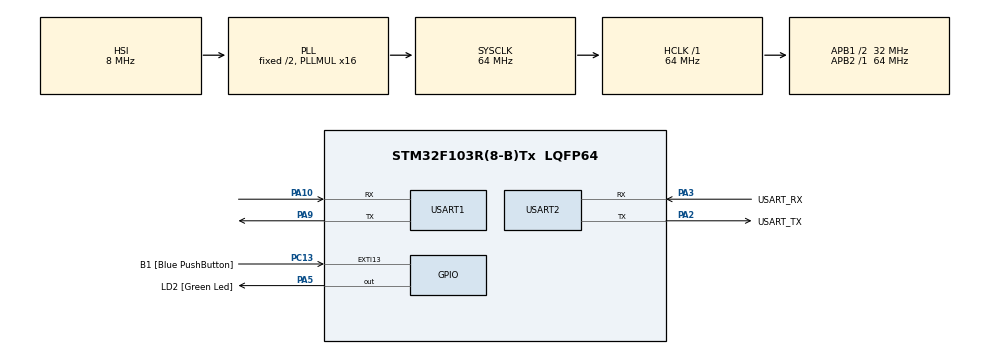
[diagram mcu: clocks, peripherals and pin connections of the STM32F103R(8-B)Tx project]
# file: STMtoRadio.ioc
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Mcu.Family=STM32F1
Mcu.Name=STM32F103R(8-B)Tx
Mcu.Package=LQFP64
NVIC.EXTI15_10_IRQn=true\:0\:0\:false\:false\:true\:true\:true\:true
NVIC.PriorityGroup=NVIC_PRIORITYGROUP_4
PA10.Mode=Asynchronous
PA10.Signal=USART1_RX
PA13.GPIO_Label=TMS
PA13.Mode=Serial_Wire
PA13.Signal=SYS_JTMS-SWDIO
PA14.GPIO_Label=TCK
PA14.Mode=Serial_Wire
PA14.Signal=SYS_JTCK-SWCLK
PA2.GPIO_Label=USART_TX
PA2.GPIO_Mode=GPIO_MODE_AF_PP
PA2.GPIO_PuPd=GPIO_NOPULL
PA2.GPIO_Speed=GPIO_SPEED_FREQ_LOW
PA2.Mode=Asynchronous
PA2.Signal=USART2_TX
PA3.GPIO_Label=USART_RX
PA3.GPIO_Mode=GPIO_MODE_AF_PP
PA3.GPIO_PuPd=GPIO_NOPULL
PA3.GPIO_Speed=GPIO_SPEED_FREQ_LOW
PA3.Mode=Asynchronous
PA3.Signal=USART2_RX
PA5.GPIO_Label=LD2 [Green Led]
PA5.GPIO_ModeDefaultOutputPP=GPIO_MODE_OUTPUT_PP
PA5.GPIO_PuPd=GPIO_NOPULL
PA5.GPIO_Speed=GPIO_SPEED_FREQ_LOW
PA5.Signal=GPIO_Output
PA9.Mode=Asynchronous
PA9.Signal=USART1_TX
PB3.GPIO_Label=SWO
PB3.Signal=SYS_JTDO-TRACESWO
PC13-TAMPER-RTC.GPIO_Label=B1 [Blue PushButton]
PC13-TAMPER-RTC.GPIO_PuPd=GPIO_NOPULL
PC13-TAMPER-RTC.Signal=GPXTI13
PC14-OSC32_IN.Mode=LSE-External-Oscillator
PC14-OSC32_IN.Signal=RCC_OSC32_IN
PC15-OSC32_OUT.Mode=LSE-External-Oscillator
PC15-OSC32_OUT.Signal=RCC_OSC32_OUT
PD0-OSC_IN.Mode=HSE-External-Clock-Source
PD0-OSC_IN.Signal=RCC_OSC_IN
PD1-OSC_OUT.Mode=HSE-External-Clock-Source
PD1-OSC_OUT.Signal=RCC_OSC_OUT
ProjectManager.HeapSize=0x200
ProjectManager.StackSize=0x400
ProjectManager.TargetToolchain=STM32CubeIDE
RCC.AHBFreq_Value=64000000
RCC.APB1CLKDivider=RCC_HCLK_DIV2
RCC.APB1Freq_Value=32000000
RCC.APB1TimFreq_Value=64000000
RCC.APB2Freq_Value=64000000
RCC.APB2TimFreq_Value=64000000
RCC.HCLKFreq_Value=64000000
RCC.PLLMUL=RCC_PLL_MUL16
RCC.RTCClockSelection=RCC_RTCCLKSOURCE_LSE
RCC.SYSCLKFreq_VALUE=64000000
RCC.SYSCLKSource=RCC_SYSCLKSOURCE_PLLCLK
RCC.USBFreq_Value=64000000
USART1.VirtualMode=VM_ASYNC
USART2.VirtualMode=VM_ASYNC
board=NUCLEO-F103RB

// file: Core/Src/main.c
/* USER CODE BEGIN Header */
/**
 ******************************************************************************
 * @file           : main.c
 * @brief          : Main program body
 ******************************************************************************
 * @attention
 *
 * Copyright (c) 2023 STMicroelectronics.
 * All rights reserved.
 *
 * This software is licensed under terms that can be found in the LICENSE file
 * in the root directory of this software component.
 * If no LICENSE file comes with this software, it is provided AS-IS.
 *
 ******************************************************************************
 */
/* USER CODE END Header */
#include "main.h"

UART_HandleTypeDef huart1;
UART_HandleTypeDef huart2;

void SystemClock_Config(void);
static void MX_GPIO_Init(void);
static void MX_USART2_UART_Init(void);
static void MX_USART1_UART_Init(void);

/* USER CODE BEGIN 0 */

void print_ASCII(uint8_t data) {
	HAL_UART_Transmit(&huart2, &data, 1, 100);
}

void newline() {
	uint8_t buf[12];
	strcpy((char*) buf, "\r\n	");
	HAL_UART_Transmit(&huart2, buf, strlen((char*) buf), 100);
	memset(buf, 0, sizeof(buf));
}

void newlineFinal() {
	newline();
	uint8_t buf[12];
	strcpy((char*) buf, "\r\n");
	HAL_UART_Transmit(&huart2, buf, strlen((char*) buf), 100);
	memset(buf, 0, sizeof(buf));
}

void print_string(const char *a) {
	uint8_t buf[100];
	strncpy((char*) buf, a, sizeof(buf));
	buf[sizeof(buf) - 1] = '\0';
	HAL_UART_Transmit(&huart2, (uint8_t*) buf, strlen((char*) buf), 100);
	memset(buf, 0, sizeof(buf));
}

void space() {
	uint8_t buf[12];
	strcpy((char*) buf, "	");
	HAL_UART_Transmit(&huart2, buf, strlen((char*) buf), 100);
	memset(buf, 0, sizeof(buf));
}

void print_hex(char h) {
	int i;
	char nibble;
	for (i = 1; i >= 0; i--) {
		nibble = ((h >> (4 * i)) & 0x0F);
		if (nibble < 10) { //decimal number
			nibble += 48;
			HAL_UART_Transmit(&huart2, (uint8_t*) &nibble, sizeof(nibble), 10);
		} else { //letter
			nibble += 55;
			HAL_UART_Transmit(&huart2, (uint8_t*) &nibble, sizeof(nibble), 10);
		}
	}
	//space();
	//memset(nibble, 0, sizeof(nibble));
}

void print_decimal(const long long data, const unsigned char len) {
	int i;
	char nibble;
	for (i = (len - 1); i >= 0; i--) {
		nibble = ((int) (data / pow(10, i)) % 10) + 48;
		HAL_UART_Transmit(&huart2, (uint8_t*) &nibble, sizeof(nibble), 10);
	}
}

uint8_t count = 0;
void count_init() {
	count++;
	print_decimal(count, 3);
	space();
}

void send_buffer(uint8_t *buffer, uint32_t buffer_length) {
	for (int i = 0; i < buffer_length; i++) {
		//HAL_UART_Transmit(&huart2, &buffer[i], 1, HAL_MAX_DELAY);
		print_hex(buffer[i]);
	}
	newline();
//	memset(buffer, 0, buffer_length);
}

void GetRadioInfo() {
	uint8_t data = 0x61;
	HAL_UART_Transmit(&huart1, &data, 1, 100);
	uint8_t Rx_data[19];
	memset(Rx_data, 0, sizeof(Rx_data));
	HAL_UART_Receive(&huart1, Rx_data, 19, 1000);

	//send_buffer(Rx_data, 19);

	print_string("[");

	print_ASCII(Rx_data[0]);
	print_ASCII(Rx_data[1]);
	space();

	print_ASCII(Rx_data[2]);
	space();

	for (int i = 3; i < 13; i++) {
		print_ASCII(Rx_data[i]);
	}
	space();
	for (int i = 13; i < 20; i++) {
		print_ASCII(Rx_data[i]);
	}
	print_string("]");
	space();
}

void WriteTXBufferString(const char *a) {
	uint8_t data = 0x67;
	HAL_UART_Transmit(&huart1, &data, 1, 100);
	uint8_t length = strlen(a);
//	print_string("Packet length: ");
//	print_hex(length);
//	newline();
	HAL_UART_Transmit(&huart1, &length, 1, 100);
	HAL_UART_Transmit(&huart1, (uint8_t*) a, length, 100);
}

void WriteTXBuffer(uint8_t *a, uint8_t length) {
	uint8_t data = 0x67;
	HAL_UART_Transmit(&huart1, &data, 1, 100);
	HAL_UART_Transmit(&huart1, &length, 1, 100);
	HAL_UART_Transmit(&huart1, (uint8_t*) a, length, 100);
}

void WriteRXBuffer(const char *a) {
	uint8_t data = 0x70;
	HAL_UART_Transmit(&huart1, &data, 1, 100);
	uint8_t length = strlen(a);
//	print_string("Packet length: ");
//	print_hex(length);
//	newline();
	HAL_UART_Transmit(&huart1, &length, 1, 100);
	HAL_UART_Transmit(&huart1, (uint8_t*) a, length, 100);
}

//void BurstWrite(const char *a) {
//	uint8_t data = 0x68;
//	HAL_UART_Transmit(&huart1, &data, 1, 100);
//	uint8_t length = strlen(a);
//	HAL_UART_Transmit(&huart1, &length, 1, 100);
//	HAL_UART_Transmit(&huart1, (uint8_t*) a, length, 100);
//}

char GetTXBufferState() {
	uint8_t data = 0x66;
	HAL_UART_Transmit(&huart1, &data, 1, 100);
	uint8_t Rx_data[5];
	memset(Rx_data, 0, sizeof(Rx_data));
	HAL_UART_Receive(&huart1, Rx_data, 5, 1000);
	print_string("[");

	print_hex(Rx_data[0]);
	space();

	print_hex(Rx_data[1]);
	space();

	print_hex(Rx_data[2]);
	print_hex(Rx_data[3]);
	space();

	print_hex(Rx_data[4]);
	print_string("]");
	newline();

	uint8_t TX_ACTIVE_status = 0;
	print_string("[Status: ");
	uint8_t radioStatus = Rx_data[0] & 0xC0;
	if (radioStatus == 0x00) {
		print_string("IDLE");
	} else if (radioStatus == 0x40) {
		print_string("RX");
	} else if (radioStatus == 0x80) {
		print_string("TX WAIT");
	} else if (radioStatus == 0xC0) {
		print_string("TX ACTIVE");
		TX_ACTIVE_status = 1;
	}
	space();

	print_string("	Packet: ");
	uint8_t bufferPacketOverflow = Rx_data[0] & 0x02;
	if (bufferPacketOverflow == 0x02) {
		print_string("Packet limit being reached.");
	} else if (bufferPacketOverflow == 0x00) {
		print_string("No overflow last write.");
	}
	space();

	print_string("	Data: ");
	uint8_t bufferDataOverflow = Rx_data[0] & 0x01;
	if (bufferDataOverflow == 0x01) {
		print_string("Data buffer overflow.]");
	} else if (bufferDataOverflow == 0x00) {
		print_string("No overflow last write.]");
	}
	newline();

	print_string("[Packets: ");
	print_decimal(Rx_data[1], 2);
	print_string("	Bytes: ");
	uint16_t TXSize = ((uint16_t) Rx_data[2] << 8) + Rx_data[3];
	print_decimal(TXSize, 5);
	print_string("	Packet size: ");
	print_decimal(Rx_data[4], 3);
	print_string("]");
	newline();

//	print_hex(radioStatus); space();
//	print_hex(bufferPacketOverflow); space();
//	print_hex(bufferDataOverflow);
	return TX_ACTIVE_status;
}

char GetRXBufferState() {
	uint8_t data = 0x62;
	HAL_UART_Transmit(&huart1, &data, 1, 100);
	uint8_t Rx_data[5];
	memset(Rx_data, 0, sizeof(Rx_data));
	HAL_UART_Receive(&huart1, Rx_data, 5, 1000);
	print_string("[");

	print_hex(Rx_data[0]);
	space();

	print_hex(Rx_data[1]);
	space();

	print_hex(Rx_data[2]);
	print_hex(Rx_data[3]);
	space();

	print_hex(Rx_data[4]);
	print_string("]");
	newline();

	print_string("[Status: ");
	uint8_t radioStatus = Rx_data[0] & 0xC0;
	if (radioStatus == 0x00) {
		print_string("IDLE");
	} else if (radioStatus == 0x40) {
		print_string("RX");
	} else if (radioStatus == 0x80) {
		print_string("TX WAIT");
	} else if (radioStatus == 0xC0) {
		print_string("TX ACTIVE");
	}
	space();

	print_string("	Packet: ");
	uint8_t bufferPacketOverflow = Rx_data[0] & 0x02;
	if (bufferPacketOverflow == 0x02) {
		print_string("Packet limit being reached.");
	} else if (bufferPacketOverflow == 0x00) {
		print_string("No overflow last write.");
	}
	space();

	print_string("	Data: ");
	uint8_t bufferDataOverflow = Rx_data[0] & 0x01;
	if (bufferDataOverflow == 0x01) {
		print_string("Data buffer overflow.]");
	} else if (bufferDataOverflow == 0x00) {
		print_string("No overflow last write.]");
	}
	newline();

	print_string("[Packets: ");
	print_decimal(Rx_data[1], 2);
	print_string("	Bytes: ");
	uint16_t RXSize = ((uint16_t) Rx_data[2] << 8) + Rx_data[3];
	print_decimal(RXSize, 5);
	print_string("	Packet size: ");
	print_decimal(Rx_data[4], 3);
	print_string("]");
	newline();

//	print_hex(radioStatus); space();
//	print_hex(bufferPacketOverflow); space();
//	print_hex(bufferDataOverflow);
	return Rx_data[1];
}

char GetRXBufferLength(){
	uint8_t data = 0x62;
	HAL_UART_Transmit(&huart1, &data, 1, 100);
	uint8_t Rx_data[5];
	memset(Rx_data, 0, sizeof(Rx_data));
	HAL_UART_Receive(&huart1, Rx_data, 5, 1000);
	return Rx_data[4];
}

void FlushTXBuffer() {
	uint8_t data = 0x69;
	HAL_UART_Transmit(&huart1, &data, 1, 100);
	uint8_t Rx_data[1024];
	memset(Rx_data, 0, sizeof(Rx_data));
	HAL_UART_Receive(&huart1, Rx_data, 1024, 1000);

	newline();
	print_string("TX buffer contents: ");
	newline();
	send_buffer(Rx_data, 1024);
}

void FlushRXBuffer() {
	uint8_t data = 0x65;
	HAL_UART_Transmit(&huart1, &data, 1, 100);
	uint8_t Rx_data[1024];
	memset(Rx_data, 0, sizeof(Rx_data));
	HAL_UART_Receive(&huart1, Rx_data, 1024, 1000);

	newline();
	print_string("RX buffer contents: ");
	newline();
	send_buffer(Rx_data, 1024);
}

void ReadTXBuffer() {
	uint8_t data = 0x71;
	HAL_UART_Transmit(&huart1, &data, 1, 100);

	const uint32_t MAX_RX_SIZE = 100;
	uint8_t Rx_data[MAX_RX_SIZE + 1]; // buffer to hold received data plus null terminator
	memset(Rx_data, 0, sizeof(Rx_data));
	HAL_UART_Receive(&huart1, Rx_data, MAX_RX_SIZE, 1000);
	Rx_data[MAX_RX_SIZE] = '\0'; // add null terminator to received data

	// Determine actual size of received data
	uint32_t size = 0;
	while (size < MAX_RX_SIZE && Rx_data[size] != '\0') {
		size++;
	}

//	print_string("TX buffer size: ");
//	print_decimal(size, 3);
//	newline();

	print_string("TX First Packet: ");
	newline();
	send_buffer(Rx_data, size);
}

char ReadRXBuffer(uint8_t *buffer) {
	uint8_t data = 0x63;
	HAL_UART_Transmit(&huart1, &data, 1, 100);

	const uint32_t MAX_RX_SIZE = 100;
	uint8_t Rx_data[MAX_RX_SIZE + 1]; // buffer to hold received data plus null terminator
	memset(Rx_data, 0, sizeof(Rx_data));
	HAL_UART_Receive(&huart1, Rx_data, MAX_RX_SIZE, 1000);
//	Rx_data[MAX_RX_SIZE] = '\0'; // add null terminator to received data
//
//	// Determine actual size of received data
//	uint32_t size = 0;
//	while (size < MAX_RX_SIZE && Rx_data[size] != '\0') {
//		size++;
//	}

//	print_string("TX buffer size: ");
//	print_decimal(size, 3);
//	newline();

	print_string("RX First Packet: ");
	newline();
	send_buffer(Rx_data, GetRXBufferLength());
	buffer = Rx_data;
	return GetRXBufferLength();
}

void IDLEMode() {
	uint8_t data = 0x82;
	HAL_UART_Transmit(&huart1, &data, 1, 100);
	uint8_t Rx_data[1];
	memset(Rx_data, 0, sizeof(Rx_data));
	HAL_UART_Receive(&huart1, Rx_data, 1024, 1000);
	while (Rx_data[0] != 0x00) {
		HAL_UART_Transmit(&huart1, &data, 1, 100);
		memset(Rx_data, 0, sizeof(Rx_data));
		HAL_UART_Receive(&huart1, Rx_data, 1024, 1000);
		print_string("IDLE, chip state:	");
		print_hex(Rx_data[0]);
		newline();
	}
	print_string("IDLE mode activated");
		newline();
}

void RXMode() {
	uint8_t data = 0x83;
	HAL_UART_Transmit(&huart1, &data, 1, 100);
	uint8_t Rx_data[1];
	memset(Rx_data, 0, sizeof(Rx_data));
	HAL_UART_Receive(&huart1, Rx_data, 1024, 1000);
	while (Rx_data[0] != 0x40) {
		HAL_UART_Transmit(&huart1, &data, 1, 100);
		memset(Rx_data, 0, sizeof(Rx_data));
		HAL_UART_Receive(&huart1, Rx_data, 1024, 1000);
		print_string("RX, chip state:	");
		print_hex(Rx_data[0]);
		newline();
	}
	print_string("RX mode activated");
		newline();
}

void TXMode() {
	uint8_t data = 0x84;
	HAL_UART_Transmit(&huart1, &data, 1, 100);
	uint8_t Rx_data[1];
	memset(Rx_data, 0, sizeof(Rx_data));
	HAL_UART_Receive(&huart1, Rx_data, 1024, 1000);
	while (Rx_data[0] != 0x80) {
		HAL_UART_Transmit(&huart1, &data, 1, 100);
		memset(Rx_data, 0, sizeof(Rx_data));
		HAL_UART_Receive(&huart1, Rx_data, 1024, 1000);
		print_string("TX, chip state:	");
		print_hex(Rx_data[0]);
		newline();
	}
	print_string("TX mode activated");
	newline();
}

/* USER CODE END 0 */

int main(void)
{

  /* MCU Configuration--------------------------------------------------------*/

  /* Reset of all peripherals, Initializes the Flash interface and the Systick. */
  HAL_Init();

  /* Configure the system clock */
  SystemClock_Config();

  /* Initialize all configured peripherals */
  MX_GPIO_Init();
  MX_USART2_UART_Init();
  MX_USART1_UART_Init();

  /* Infinite loop */
	while (1) {

	}
}

void SystemClock_Config(void)
{
  RCC_OscInitTypeDef RCC_OscInitStruct = {0};
  RCC_ClkInitTypeDef RCC_ClkInitStruct = {0};

  /** Initializes the RCC Oscillators according to the specified parameters
  * in the RCC_OscInitTypeDef structure.
  */
  RCC_OscInitStruct.OscillatorType = RCC_OSCILLATORTYPE_HSI;
  RCC_OscInitStruct.HSIState = RCC_HSI_ON;
  RCC_OscInitStruct.HSICalibrationValue = RCC_HSICALIBRATION_DEFAULT;
  RCC_OscInitStruct.PLL.PLLState = RCC_PLL_ON;
  RCC_OscInitStruct.PLL.PLLSource = RCC_PLLSOURCE_HSI_DIV2;
  RCC_OscInitStruct.PLL.PLLMUL = RCC_PLL_MUL16;
  if (HAL_RCC_OscConfig(&RCC_OscInitStruct) != HAL_OK)
  {
    Error_Handler();
  }

  /** Initializes the CPU, AHB and APB buses clocks
  */
  RCC_ClkInitStruct.ClockType = RCC_CLOCKTYPE_HCLK|RCC_CLOCKTYPE_SYSCLK
                              |RCC_CLOCKTYPE_PCLK1|RCC_CLOCKTYPE_PCLK2;
  RCC_ClkInitStruct.SYSCLKSource = RCC_SYSCLKSOURCE_PLLCLK;
  RCC_ClkInitStruct.AHBCLKDivider = RCC_SYSCLK_DIV1;
  RCC_ClkInitStruct.APB1CLKDivider = RCC_HCLK_DIV2;
  RCC_ClkInitStruct.APB2CLKDivider = RCC_HCLK_DIV1;

  if (HAL_RCC_ClockConfig(&RCC_ClkInitStruct, FLASH_LATENCY_2) != HAL_OK)
  {
    Error_Handler();
  }
}

static void MX_USART1_UART_Init(void)
{

  huart1.Instance = USART1;
  huart1.Init.BaudRate = 115200;
  huart1.Init.WordLength = UART_WORDLENGTH_8B;
  huart1.Init.StopBits = UART_STOPBITS_1;
  huart1.Init.Parity = UART_PARITY_NONE;
  huart1.Init.Mode = UART_MODE_TX_RX;
  huart1.Init.HwFlowCtl = UART_HWCONTROL_NONE;
  huart1.Init.OverSampling = UART_OVERSAMPLING_16;
  if (HAL_UART_Init(&huart1) != HAL_OK)
  {
    Error_Handler();
  }

}

static void MX_USART2_UART_Init(void)
{

  huart2.Instance = USART2;
  huart2.Init.BaudRate = 115200;
  huart2.Init.WordLength = UART_WORDLENGTH_8B;
  huart2.Init.StopBits = UART_STOPBITS_1;
  huart2.Init.Parity = UART_PARITY_NONE;
  huart2.Init.Mode = UART_MODE_TX_RX;
  huart2.Init.HwFlowCtl = UART_HWCONTROL_NONE;
  huart2.Init.OverSampling = UART_OVERSAMPLING_16;
  if (HAL_UART_Init(&huart2) != HAL_OK)
  {
    Error_Handler();
  }

}

static void MX_GPIO_Init(void)
{
  GPIO_InitTypeDef GPIO_InitStruct = {0};

  /* GPIO Ports Clock Enable */
  __HAL_RCC_GPIOC_CLK_ENABLE();
  __HAL_RCC_GPIOD_CLK_ENABLE();
  __HAL_RCC_GPIOA_CLK_ENABLE();
  __HAL_RCC_GPIOB_CLK_ENABLE();

  /*Configure GPIO pin Output Level */
  HAL_GPIO_WritePin(LD2_GPIO_Port, LD2_Pin, GPIO_PIN_RESET);

  /*Configure GPIO pin : B1_Pin */
  GPIO_InitStruct.Pin = B1_Pin;
  GPIO_InitStruct.Mode = GPIO_MODE_IT_RISING;
  GPIO_InitStruct.Pull = GPIO_NOPULL;
  HAL_GPIO_Init(B1_GPIO_Port, &GPIO_InitStruct);

  /*Configure GPIO pin : LD2_Pin */
  GPIO_InitStruct.Pin = LD2_Pin;
  GPIO_InitStruct.Mode = GPIO_MODE_OUTPUT_PP;
  GPIO_InitStruct.Pull = GPIO_NOPULL;
  GPIO_InitStruct.Speed = GPIO_SPEED_FREQ_LOW;
  HAL_GPIO_Init(LD2_GPIO_Port, &GPIO_InitStruct);

  /* EXTI interrupt init*/
  HAL_NVIC_SetPriority(EXTI15_10_IRQn, 0, 0);
  HAL_NVIC_EnableIRQ(EXTI15_10_IRQn);

}

void Error_Handler(void)
{
	__disable_irq();
	while (1) {
	}
}
